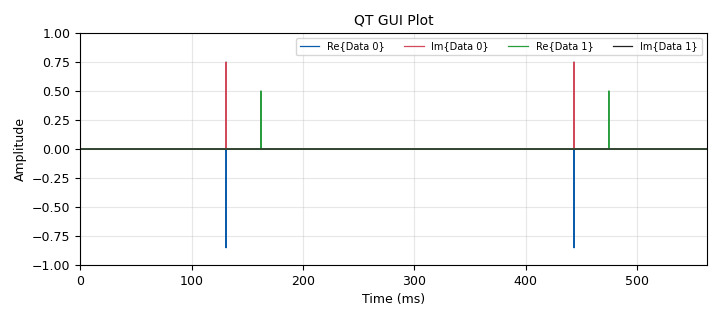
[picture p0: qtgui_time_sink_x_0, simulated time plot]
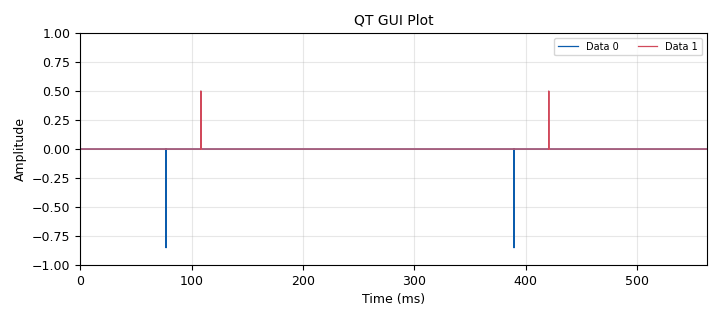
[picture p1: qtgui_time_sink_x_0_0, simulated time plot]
<?xml version='1.0' encoding='utf-8'?>
<flow_graph>
<block>
<key>options</key>
<param><key>id</key><value>qtgui_tags_viewing</value></param>
<param><key>generate_options</key><value>qt_gui</value></param>
<param><key>category</key><value>Custom</value></param>
<param><key>run_options</key><value>run</value></param>
</block>
<block>
<key>variable</key>
<param><key>id</key><value>samp_rate</value></param>
<param><key>value</key><value>32000</value></param>
</block>
<block>
<key>import</key>
<param><key>id</key><value>import_0</value></param>
<param><key>import</key><value>import scipy</value></param>
</block>
<block>
<key>import</key>
<param><key>id</key><value>import_1</value></param>
<param><key>import</key><value>from gnuradio.digital.utils import tagged_streams</value></param>
</block>
<block>
<key>blocks_vector_source_x</key>
<param><key>id</key><value>blocks_vector_source_x_0</value></param>
<param><key>type</key><value>complex</value></param>
<param><key>vector</key><value>[-0.85+0.75j,] + (10000-1)*[0,]</value></param>
<param><key>tags</key><value>tagged_streams.make_lengthtags((1024,), (0,), "testing tags")</value></param>
<param><key>repeat</key><value>True</value></param>
</block>
<block>
<key>blocks_delay</key>
<param><key>id</key><value>blocks_delay_0</value></param>
<param><key>type</key><value>complex</value></param>
<param><key>delay</key><value>1000</value></param>
</block>
<block>
<key>blocks_add_xx</key>
<param><key>id</key><value>blocks_add_xx_0</value></param>
<param><key>type</key><value>complex</value></param>
</block>
<block>
<key>blocks_vector_source_x</key>
<param><key>id</key><value>blocks_vector_source_x_0_0</value></param>
<param><key>type</key><value>complex</value></param>
<param><key>vector</key><value>1000*[0,] + [0.5+0j,] + (10000-1000-1)*[0,]</value></param>
<param><key>tags</key><value>tagged_streams.make_lengthtags((128,), (1000,), "second stream")</value></param>
<param><key>repeat</key><value>True</value></param>
</block>
<block>
<key>qtgui_time_sink_x</key>
<param><key>id</key><value>qtgui_time_sink_x_0</value></param>
<param><key>type</key><value>complex</value></param>
<param><key>name</key><value>QT GUI Plot</value></param>
<param><key>size</key><value>18000</value></param>
<param><key>srate</key><value>samp_rate</value></param>
<param><key>nconnections</key><value>2</value></param>
</block>
<block>
<key>blocks_vector_source_x</key>
<param><key>id</key><value>blocks_vector_source_x_0_0_0</value></param>
<param><key>type</key><value>float</value></param>
<param><key>vector</key><value>1000*[0,] + [0.5,] + (10000-1000-1)*[0,]</value></param>
<param><key>tags</key><value>tagged_streams.make_lengthtags((128,), (1000,), "second stream")</value></param>
<param><key>repeat</key><value>True</value></param>
</block>
<block>
<key>blocks_tags_strobe</key>
<param><key>id</key><value>blocks_tags_strobe_0</value></param>
<param><key>type</key><value>complex</value></param>
<param><key>value</key><value>pmt.intern("TEST")</value></param>
<param><key>nsamps</key><value>5000</value></param>
</block>
<block>
<key>blocks_throttle</key>
<param><key>id</key><value>blocks_throttle_0</value></param>
<param><key>type</key><value>complex</value></param>
<param><key>samples_per_second</key><value>samp_rate</value></param>
</block>
<block>
<key>blocks_vector_source_x</key>
<param><key>id</key><value>blocks_vector_source_x_0_1</value></param>
<param><key>type</key><value>float</value></param>
<param><key>vector</key><value>[-0.85,] + (10000-1)*[0,]</value></param>
<param><key>tags</key><value>tagged_streams.make_lengthtags((1024,), (0,), "testing tags")</value></param>
<param><key>repeat</key><value>True</value></param>
</block>
<block>
<key>qtgui_time_sink_x</key>
<param><key>id</key><value>qtgui_time_sink_x_0_0</value></param>
<param><key>type</key><value>float</value></param>
<param><key>name</key><value>QT GUI Plot</value></param>
<param><key>size</key><value>18000</value></param>
<param><key>srate</key><value>samp_rate</value></param>
<param><key>nconnections</key><value>2</value></param>
</block>
<block>
<key>blocks_throttle</key>
<param><key>id</key><value>blocks_throttle_0_0</value></param>
<param><key>type</key><value>float</value></param>
<param><key>samples_per_second</key><value>samp_rate</value></param>
</block>
<connection><source_block_id>blocks_vector_source_x_0</source_block_id><sink_block_id>blocks_throttle_0</sink_block_id><source_key>0</source_key><sink_key>0</sink_key></connection>
<connection><source_block_id>blocks_vector_source_x_0_0</source_block_id><sink_block_id>qtgui_time_sink_x_0</sink_block_id><source_key>0</source_key><sink_key>1</sink_key></connection>
<connection><source_block_id>blocks_throttle_0</source_block_id><sink_block_id>blocks_add_xx_0</sink_block_id><source_key>0</source_key><sink_key>0</sink_key></connection>
<connection><source_block_id>blocks_add_xx_0</source_block_id><sink_block_id>qtgui_time_sink_x_0</sink_block_id><source_key>0</source_key><sink_key>0</sink_key></connection>
<connection><source_block_id>blocks_delay_0</source_block_id><sink_block_id>blocks_add_xx_0</sink_block_id><source_key>0</source_key><sink_key>1</sink_key></connection>
<connection><source_block_id>blocks_tags_strobe_0</source_block_id><sink_block_id>blocks_delay_0</sink_block_id><source_key>0</source_key><sink_key>0</sink_key></connection>
<connection><source_block_id>blocks_vector_source_x_0_0_0</source_block_id><sink_block_id>qtgui_time_sink_x_0_0</sink_block_id><source_key>0</source_key><sink_key>1</sink_key></connection>
<connection><source_block_id>blocks_vector_source_x_0_1</source_block_id><sink_block_id>blocks_throttle_0_0</sink_block_id><source_key>0</source_key><sink_key>0</sink_key></connection>
<connection><source_block_id>blocks_throttle_0_0</source_block_id><sink_block_id>qtgui_time_sink_x_0_0</sink_block_id><source_key>0</source_key><sink_key>0</sink_key></connection>
</flow_graph>
